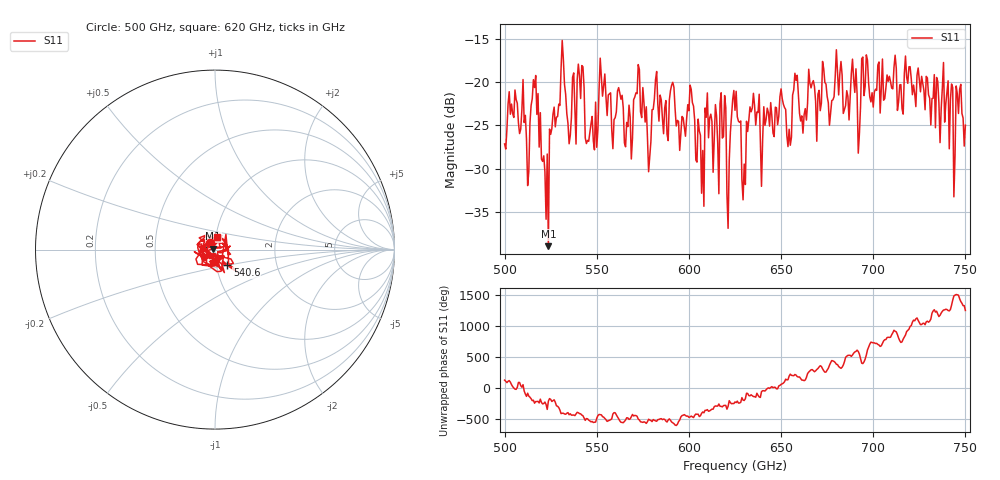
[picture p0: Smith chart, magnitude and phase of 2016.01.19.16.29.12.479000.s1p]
!Created with skrf (http://scikit-rf.org).
# GHz S RI R 50.0
!freq ReS11 ImS11
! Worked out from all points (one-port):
!   401 points, 500 GHz to 750 GHz, reference 50 ohm
!   lowest |S11| = -39.0 dB at 523.8 GHz (marker M1), VSWR 1.02, Z = 49 + j0.541 ohm
!   |S11| at or under -10 dB: start of sweep to end of sweep
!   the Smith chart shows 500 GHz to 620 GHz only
!   S11 on the Smith chart (normalised r, x): 500 GHz: 0.95, +0.07; 540.6 GHz: 1.13, -0.19; 620 GHz: 1.01, +0.14
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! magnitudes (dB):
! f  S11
! 500 GHz  -27.1
! 505.6 GHz  -20.9
! 512.5 GHz  -32.0
! 516.9 GHz  -19.2
! 523.8 GHz  -39.0
! 531.2 GHz  -15.1
! 535 GHz  -27.1
! 540.6 GHz  -19.2
! 545 GHz  -26.7
! 553.1 GHz  -21.6
! 559.4 GHz  -24.3
! 562.5 GHz  -21.2
! 571.9 GHz  -21.3
! 578.1 GHz  -30.4
! 581.9 GHz  -19.7
! 593.8 GHz  -24.4
! 601.2 GHz  -20.8
! 606.9 GHz  -32.9
! 610 GHz  -21.2
! 618.1 GHz  -26.5
! 620 GHz  -22.9
! 625 GHz  -23.2
! 629.4 GHz  -33.6
! 634.4 GHz  -23.0
! 656.2 GHz  -21.5
! 687.5 GHz  -21.6
! 718.8 GHz  -20.1
! 750 GHz  -25.0
